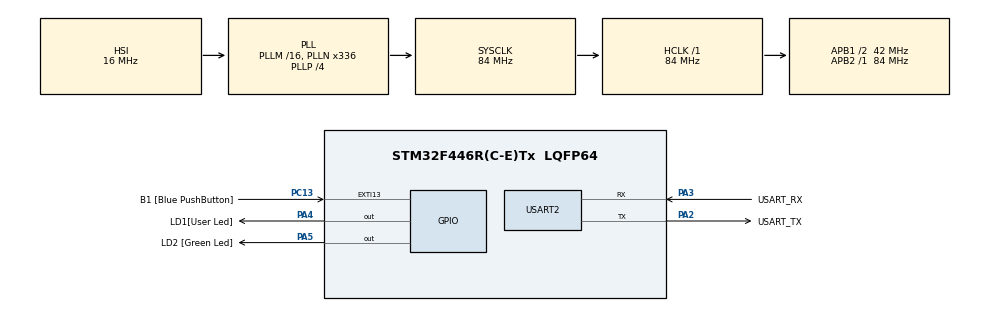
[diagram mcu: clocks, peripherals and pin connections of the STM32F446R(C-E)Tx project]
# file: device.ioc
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Mcu.Family=STM32F4
Mcu.Name=STM32F446R(C-E)Tx
Mcu.Package=LQFP64
NVIC.PriorityGroup=NVIC_PRIORITYGROUP_0
NVIC.USART2_IRQn=true\:0\:0\:false\:false\:true\:true\:true
PA13.GPIO_Label=TMS
PA13.Mode=Serial_Wire
PA13.Signal=SYS_JTMS-SWDIO
PA14.GPIO_Label=TCK
PA14.Mode=Serial_Wire
PA14.Signal=SYS_JTCK-SWCLK
PA2.GPIO_Label=USART_TX
PA2.Mode=Asynchronous
PA2.Signal=USART2_TX
PA3.GPIO_Label=USART_RX
PA3.Mode=Asynchronous
PA3.Signal=USART2_RX
PA4.GPIO_Label=LD1[User Led]
PA4.Signal=GPIO_Output
PA5.GPIO_Label=LD2 [Green Led]
PA5.Signal=GPIO_Output
PB3.GPIO_Label=SWO
PB3.Signal=SYS_JTDO-SWO
PC13.GPIO_Label=B1 [Blue PushButton]
PC13.GPIO_ModeDefaultEXTI=GPIO_MODE_IT_FALLING
PC13.Signal=GPXTI13
PC14-OSC32_IN.Mode=LSE-External-Oscillator
PC14-OSC32_IN.Signal=RCC_OSC32_IN
PC15-OSC32_OUT.Mode=LSE-External-Oscillator
PC15-OSC32_OUT.Signal=RCC_OSC32_OUT
PH0-OSC_IN.Mode=HSE-External-Oscillator
PH0-OSC_IN.Signal=RCC_OSC_IN
PH1-OSC_OUT.Mode=HSE-External-Oscillator
PH1-OSC_OUT.Signal=RCC_OSC_OUT
ProjectManager.HeapSize=0x200
ProjectManager.StackSize=0x400
ProjectManager.TargetToolchain=Makefile
RCC.48MHZClocksFreq_Value=84000000
RCC.AHBFreq_Value=84000000
RCC.APB1CLKDivider=RCC_HCLK_DIV2
RCC.APB1Freq_Value=42000000
RCC.APB1TimFreq_Value=84000000
RCC.APB2Freq_Value=84000000
RCC.APB2TimFreq_Value=84000000
RCC.CortexFreq_Value=84000000
RCC.FLatency-AdvancedSettings=FLASH_LATENCY_2
RCC.HCLKFreq_Value=84000000
RCC.HSE_VALUE=8000000
RCC.HSI_VALUE=16000000
RCC.PLLN=336
RCC.PLLP=RCC_PLLP_DIV4
RCC.SYSCLKFreq_VALUE=84000000
RCC.SYSCLKSource=RCC_SYSCLKSOURCE_PLLCLK
RCC.USBFreq_Value=168000000
RCC.VCOOutputFreq_Value=336000000
USART2.VirtualMode=VM_ASYNC
board=NUCLEO-F446RE

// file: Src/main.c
/* USER CODE BEGIN Header */
/**
  ******************************************************************************
  * @file           : main.c
  * @brief          : Main program body
  ******************************************************************************
  * @attention
  *
  * <h2><center>&copy; Copyright (c) 2019 STMicroelectronics.
  * All rights reserved.</center></h2>
  *
  * This software component is licensed by ST under BSD 3-Clause license,
  * the "License"; You may not use this file except in compliance with the
  * License. You may obtain a copy of the License at:
  *                        opensource.org/licenses/BSD-3-Clause
  *
  ******************************************************************************
  */
/* USER CODE END Header */

#include "main.h"
#include "usart.h"
#include "gpio.h"

/* USER CODE BEGIN Includes */
#include "error.h"
#include "debug_print.h"
#include "unit_test.h"
#include "integration_test.h"
#include "led.h"
#include "stm32f4xx_hal.h"
/* USER CODE END Includes */

void SystemClock_Config(void);

/* USER CODE BEGIN 0 */
#if defined(UNIT_TEST)
#define HAL_RCC_ClockConfig(x,y) HAL_OK
#define HAL_RCC_OscConfig(x) HAL_OK
#endif
/* USER CODE END 0 */

int main(void)
{
  /* USER CODE BEGIN 1 */
  int error = ERROR_OK;
#if !defined(UNIT_TEST)
  /* USER CODE END 1 */

  /* MCU Configuration--------------------------------------------------------*/

  /* Reset of all peripherals, Initializes the Flash interface and the Systick. */
  HAL_Init();

  /* Configure the system clock */
  SystemClock_Config();

  /* Initialize all configured peripherals */
  MX_GPIO_Init();
  MX_USART2_UART_Init();
  /* USER CODE BEGIN 2 */
#endif /* !UNIT_TEST */
  DBG_PRINT_TRACE("Device begin");
#if defined(UNIT_TEST)
  error = unit_test_init();
  if (error) return error;

  error = unit_test_run();
  if (error) return error;
#elif defined(INTEGRATION_TEST)
  error = integration_test_init();
  if (error) return error;

  error = integration_test_run();
  if (error) return error;
#elif defined(RELEASE) || defined(DEBUG)
  DBG_PRINT_DEBUG("Turning led on");
  error = led_turnOn();
  if (error)
  {
    DBG_PRINTF_ERROR("Turning led on error: %d", error);
    return error;
  }

  HAL_Delay(2000); // Delay for the human eye

  error = led_turnOff();
  DBG_PRINT_DEBUG("Turning led off");
  if (error)
  {
    DBG_PRINTF_ERROR("Turning led off error: %d", error);
    return error;
  }
#else
#error "Unknown configuration"
#endif //Configurations
  /* USER CODE END 2 */

  /* Infinite loop */
  /* USER CODE BEGIN WHILE */
  DBG_PRINT_TRACE("Device end");
  return error;
  while (1)
  {
    /* USER CODE END WHILE */

  }
}

void SystemClock_Config(void)
{
  RCC_OscInitTypeDef RCC_OscInitStruct = {0};
  RCC_ClkInitTypeDef RCC_ClkInitStruct = {0};

  /** Configure the main internal regulator output voltage
  */
  __HAL_RCC_PWR_CLK_ENABLE();
  __HAL_PWR_VOLTAGESCALING_CONFIG(PWR_REGULATOR_VOLTAGE_SCALE3);
  /** Initializes the CPU, AHB and APB busses clocks
  */
  RCC_OscInitStruct.OscillatorType = RCC_OSCILLATORTYPE_HSI;
  RCC_OscInitStruct.HSIState = RCC_HSI_ON;
  RCC_OscInitStruct.HSICalibrationValue = RCC_HSICALIBRATION_DEFAULT;
  RCC_OscInitStruct.PLL.PLLState = RCC_PLL_ON;
  RCC_OscInitStruct.PLL.PLLSource = RCC_PLLSOURCE_HSI;
  RCC_OscInitStruct.PLL.PLLM = 16;
  RCC_OscInitStruct.PLL.PLLN = 336;
  RCC_OscInitStruct.PLL.PLLP = RCC_PLLP_DIV4;
  RCC_OscInitStruct.PLL.PLLQ = 2;
  RCC_OscInitStruct.PLL.PLLR = 2;
  if (HAL_RCC_OscConfig(&RCC_OscInitStruct) != HAL_OK)
  {
    Error_Handler();
  }
  /** Initializes the CPU, AHB and APB busses clocks
  */
  RCC_ClkInitStruct.ClockType = RCC_CLOCKTYPE_HCLK|RCC_CLOCKTYPE_SYSCLK
                              |RCC_CLOCKTYPE_PCLK1|RCC_CLOCKTYPE_PCLK2;
  RCC_ClkInitStruct.SYSCLKSource = RCC_SYSCLKSOURCE_PLLCLK;
  RCC_ClkInitStruct.AHBCLKDivider = RCC_SYSCLK_DIV1;
  RCC_ClkInitStruct.APB1CLKDivider = RCC_HCLK_DIV2;
  RCC_ClkInitStruct.APB2CLKDivider = RCC_HCLK_DIV1;

  if (HAL_RCC_ClockConfig(&RCC_ClkInitStruct, FLASH_LATENCY_2) != HAL_OK)
  {
    Error_Handler();
  }
}

void Error_Handler(void)
{
}

/************************ (C) COPYRIGHT STMicroelectronics *****END OF FILE****/
